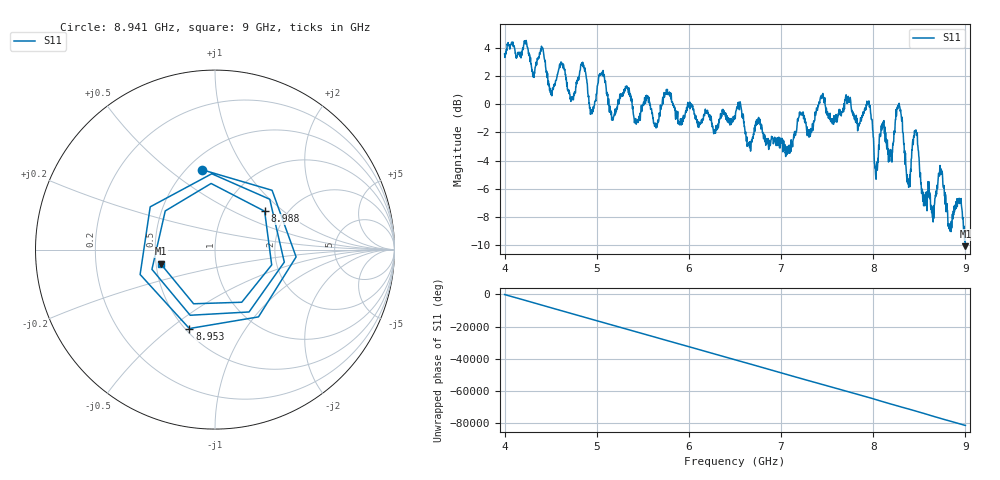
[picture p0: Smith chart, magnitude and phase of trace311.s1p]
! Created with skrf 1.8.0 (http://scikit-rf.org).
# Hz S RI R 50.0
!freq ReS11 ImS11
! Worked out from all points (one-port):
!   1601 points, 4 GHz to 9 GHz, reference 50 ohm
!   lowest |S11| = -10.1 dB at 9 GHz (marker M1), VSWR 1.91, Z = 26.5 - j4.6 ohm
!   |S11| at or under -10 dB: 8.999197 GHz to end of sweep
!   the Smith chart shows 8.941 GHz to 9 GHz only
!   S11 on the Smith chart (normalised r, x): 8.941 GHz: 0.59, +0.66; 8.953 GHz: 0.52, -0.59; 8.988 GHz: 1.54, +0.75; 9 GHz: 0.53, -0.09
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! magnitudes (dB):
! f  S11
! 4 GHz  3.6
! 4.403 GHz  4.0
! 4.506 GHz  0.8
! 4.625 GHz  2.8
! 4.731 GHz  0.5
! 4.853 GHz  2.6
! 4.947 GHz  -0.7
! 5.047 GHz  2.1
! 5.159 GHz  -0.6
! 5.25 GHz  0.7
! 5.875 GHz  -0.9
! 6.5 GHz  -0.9
! 7.125 GHz  -3.0
! 7.438 GHz  0.6
! 7.75 GHz  0.5
! 7.95 GHz  0.0
! 8.031 GHz  -5.3
! 8.191 GHz  -3.7
! 8.281 GHz  0.1
! 8.375 GHz  -5.6
! 8.453 GHz  -1.9
! 8.559 GHz  -7.2
! 8.728 GHz  -4.6
! 8.831 GHz  -9.0
! 8.941 GHz  -6.9
! 8.953 GHz  -6.7
! 8.988 GHz  -9.1
! 9 GHz  -10.1
